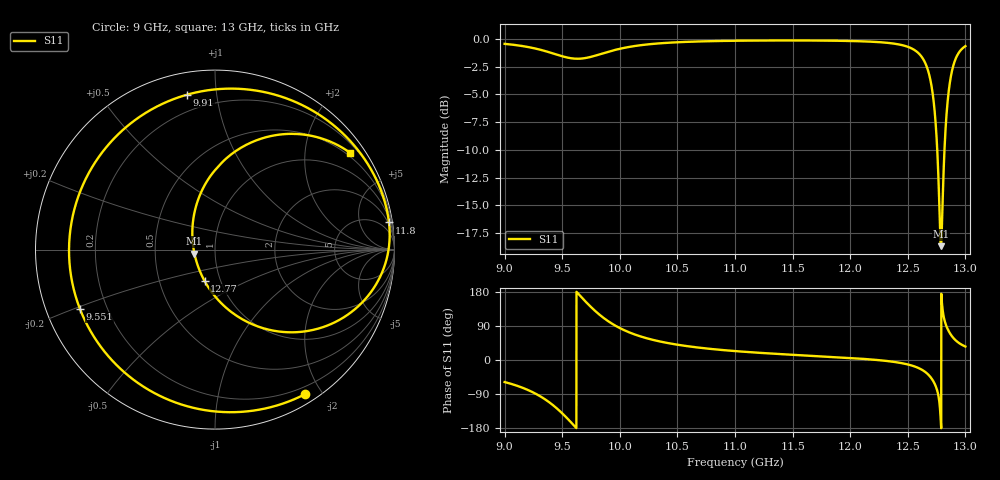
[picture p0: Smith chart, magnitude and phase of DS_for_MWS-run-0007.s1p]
! TOUCHSTONE file generated by CST DESIGN STUDIO
! Date and time: Tue Feb  4 18:00:57 2025
! Project name: C:\Work\MatlabApps\UnitCellOptimizationMatlab\CST\unitcell.cst
! Tree item: Tasks\Sweep1\SPara1\S-Parameters
! Header version: 2024
! Port assignment regex: !\s*Touchstone port\s*([0-9]+)\s*=\s*(CST MWS port|CST DES external port|CST DES block port)\s*(.+)\s* \(\"(.*)\"\)(\s*mode\s*([0-9]+))?.*
! Touchstone port assignment:
! Touchstone port 1 = CST DES external port 1 ("")
# GHz S MA R 50
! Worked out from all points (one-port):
!   4001 points, 9 GHz to 13 GHz, reference 50 ohm
!   lowest |S11| = -18.7 dB at 12.79 GHz (marker M1), VSWR 1.26, Z = 39.7 - j1.76 ohm
!   |S11| at or under -10 dB: 12.75567 GHz to 12.81838 GHz (62.71 MHz wide, 0.49 % of centre)
!   S11 on the Smith chart (normalised r, x): 9 GHz: 0.11, -1.79; 9.551 GHz: 0.10, -0.21; 9.91 GHz: 0.11, +0.83; 11.8 GHz: 2, +13; 12.77 GHz: 0.84, -0.30; 13 GHz: 0.40, +3.07
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9  0.9489 -58.2
9.158  0.9268 -73.5
9.309  0.8929 -95.7
9.409  0.8627 -116.5
9.5  0.8344 -140.7
9.551  0.8219 -156.2
9.623  0.8133 -179.7
9.695  0.818 156.7
9.801  0.8437 125.4
9.91  0.8771 100.2
10  0.9014 84.3
10.219  0.9407 58.6
10.5  0.9646 40.4
11  0.9797 23.5
11.5  0.9827 13.8
11.796  0.981 8.9
12  0.9773 5.3
12.5  0.9203 -11.8
12.617  0.8342 -24.8
12.695  0.6573 -44.3
12.739  0.435 -66.6
12.773  0.1836 -108.5
12.788  0.1167 -169.2
12.801  0.1748 135.9
12.821  0.338 102.4
12.869  0.6539 69.0
12.931  0.8457 47.8
13  0.9265 35.5
